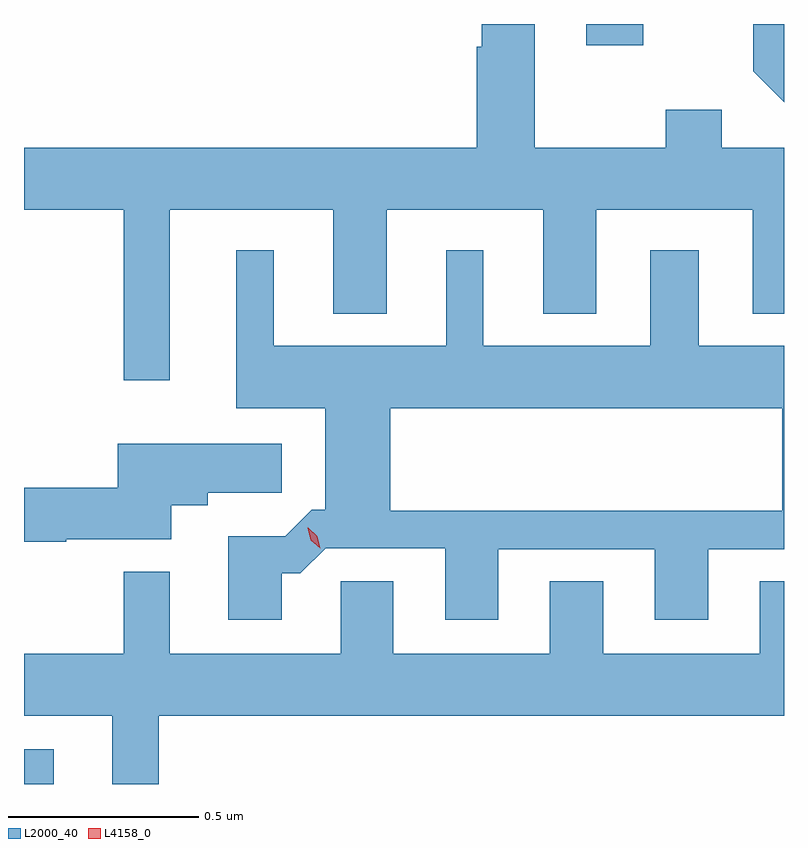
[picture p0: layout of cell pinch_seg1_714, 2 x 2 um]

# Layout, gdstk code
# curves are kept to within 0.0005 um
import gdstk
lib = gdstk.Library(unit=1e-6, precision=1e-09)
def R(c, l, rs):  # rectangles x0, y0, x1, y1
    for r in rs: c.add(gdstk.rectangle(r[:2], r[2:], *l))
def P(c, l, *ps):  # polygons
    for p in ps: c.add(gdstk.Polygon(p, *l))
L2000_40 = (2000, 40)
L4158_0 = (4158, 0)

pinch_seg1_714 = lib.new_cell('pinch_seg1_714')
R(pinch_seg1_714, L2000_40, [(733.879,560.877,733.957,560.968), (735.359,562.821,735.508,562.877)])
P(pinch_seg1_714, L2000_40, [(734.263,562.388),(734.693,562.388),(734.693,562.115),(734.833,562.115),(734.833,562.388),(735.245,562.388),(735.245,562.115),(735.385,562.115),(735.385,562.388),(735.797,562.388),(735.797,562.115),(735.879,562.115),(735.879,562.552),(735.715,562.552),(735.715,562.651),(735.568,562.651),(735.568,562.552),(735.223,562.552),(735.223,562.877),(735.083,562.877),(735.083,562.817),(735.071,562.817),(735.071,562.552),(733.879,562.552),(733.879,562.388),(734.142,562.388),(734.142,561.939),(734.263,561.939)],
  [(735.879,562.877),(735.798,562.877),(735.798,562.753),(735.879,562.671)],
  [(734.417,561.529),(734.417,561.309),(734.557,561.309),(734.557,561.431),(734.606,561.431),(734.673,561.498),(734.987,561.498),(734.987,561.309),(735.127,561.309),(735.127,561.495),(735.539,561.495),(735.539,561.309),(735.679,561.309),(735.679,561.495),(735.879,561.495),(735.879,562.03),(735.655,562.03),(735.655,562.282),(735.527,562.282),(735.527,562.03),(735.088,562.03),(735.088,562.282),(734.99,562.282),(734.99,562.03),(734.536,562.03),(734.536,562.282),(734.438,562.282),(734.438,561.866),(734.672,561.866),(734.672,561.599),(734.636,561.599),(734.633,561.596),(734.843,561.596),(734.843,561.866),(735.875,561.866),(735.875,561.596),(734.633,561.596),(734.566,561.529)],
  [(733.99,561.521),(734.266,561.521),(734.266,561.611),(734.362,561.611),(734.362,561.643),(734.557,561.643),(734.557,561.772),(734.126,561.772),(734.126,561.656),(733.879,561.656),(733.879,561.514),(733.99,561.514)],
  [(734.233,561.056),(735.879,561.056),(735.879,561.41),(735.815,561.41),(735.815,561.22),(735.403,561.22),(735.403,561.41),(735.263,561.41),(735.263,561.22),(734.851,561.22),(734.851,561.41),(734.712,561.41),(734.712,561.22),(734.263,561.22),(734.263,561.436),(734.142,561.436),(734.142,561.22),(733.879,561.22),(733.879,561.056),(734.111,561.056),(734.111,560.877),(734.233,560.877)])
P(pinch_seg1_714, L4158_0, [(734.658,561.497),(734.658,561.498),(734.634,561.519),(734.626,561.551),(734.627,561.551),(734.627,561.551),(734.651,561.529),(734.658,561.498)])

lib.write_gds('pinch_seg1_714.gds')
